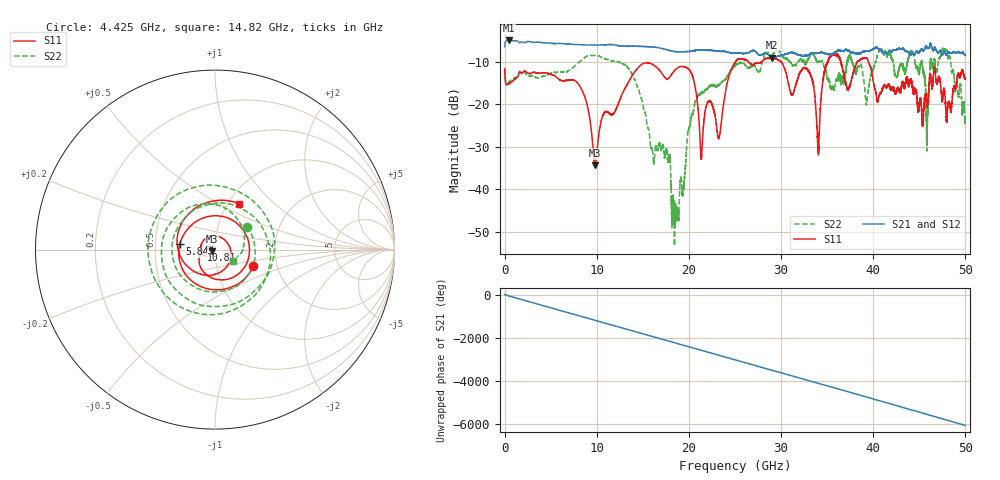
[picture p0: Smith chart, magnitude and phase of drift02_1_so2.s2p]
!Created with skrf (http://scikit-rf.org).
# Hz S RI R 50.0
!freq ReS11 ImS11 ReS21 ImS21 ReS12 ImS12 ReS22 ImS22
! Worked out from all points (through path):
!   10001 points, 300 kHz to 50 GHz, reference 50 ohm
!   highest |S21| = -5.04 dB at 430.3 MHz (marker M1); lowest = -9.0 dB at 29.05 GHz (marker M2)
!   group delay of S21, straight-line fit = 336 ps
!   lowest |S11| = -34.4 dB at 9.82 GHz (marker M3), VSWR 1.04, Z = 48.4 - j0.948 ohm
!   |S11| at or under -10 dB: start of sweep to 25.07 GHz; 30 GHz to 35.06 GHz (5.062 GHz wide, 15.6 % of centre); 39.47 GHz to end of sweep (the widest 3 of 11)
!   |S22| runs from -53.3 to -6.8 dB; largest |S21 - S12| = 0.021
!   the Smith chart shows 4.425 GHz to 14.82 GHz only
!   S11 on the Smith chart (normalised r, x): 4.425 GHz: 1.51, -0.30; 5.845 GHz: 0.67, +0.04; 10.81 GHz: 0.85, +0.00; 14.82 GHz: 1.13, +0.63
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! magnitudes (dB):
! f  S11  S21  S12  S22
! 300 kHz  -11.7  -6.5  -6.4  -11.6
! 430.3 MHz  -15.2  -5.0  -5.0  -14.8
! 4.425 GHz  -12.6  -5.6  -5.6  -13.3
! 5.845 GHz  -14.1  -5.7  -5.7  -12.5
! 8.335 GHz  -16.4  -6.1  -6.0  -9.7
! 9.82 GHz  -34.4  -6.1  -6.1  -8.6
! 10.81 GHz  -22.1  -6.1  -6.1  -9.3
! 14.82 GHz  -10.8  -6.5  -6.4  -18.5
! 16.67 GHz  -11.7  -6.8  -6.7  -30.1
! 18.65 GHz  -11.7  -7.7  -7.7  -45.3
! 20.37 GHz  -13.3  -7.5  -7.5  -22.3
! 21.36 GHz  -32.4  -7.3  -7.3  -17.2
! 23.3 GHz  -27.7  -7.6  -7.6  -15.5
! 25 GHz  -10.3  -8.0  -8.0  -11.0
! 29.05 GHz  -9.1  -9.0  -9.0  -8.3
! 33.34 GHz  -14.0  -8.1  -8.2  -8.0
! 34.02 GHz  -31.0  -7.9  -8.0  -10.0
! 35.54 GHz  -8.4  -8.1  -8.1  -15.8
! 41.67 GHz  -15.4  -7.7  -7.8  -7.7
! 45.85 GHz  -20.4  -6.7  -6.8  -22.7
! 47.77 GHz  -17.7  -7.7  -7.6  -7.3
! 50 GHz  -14.1  -8.5  -8.5  -23.2
